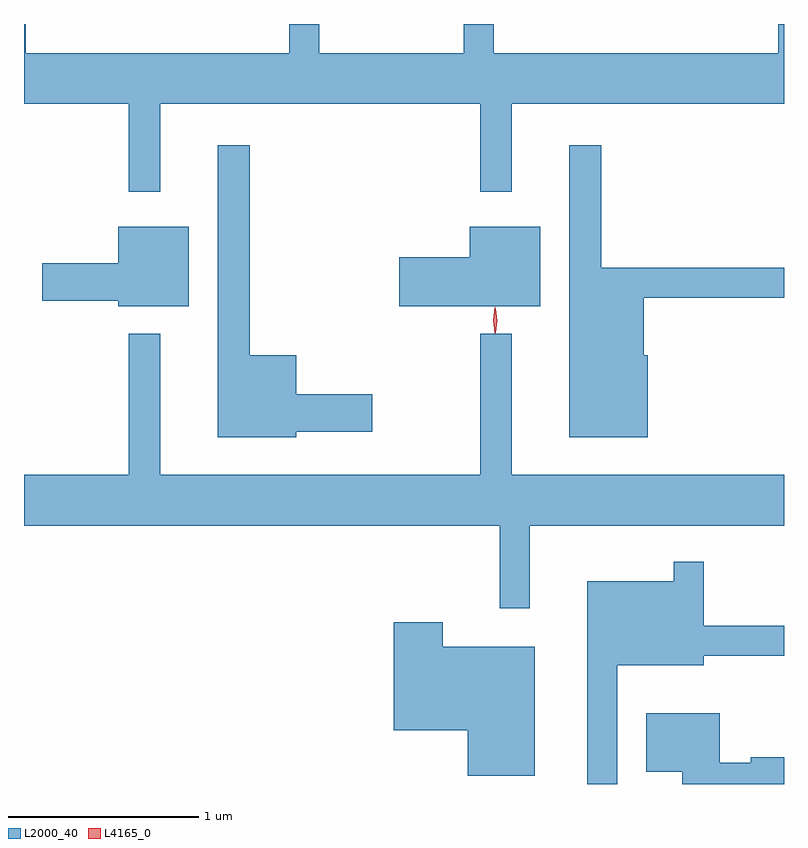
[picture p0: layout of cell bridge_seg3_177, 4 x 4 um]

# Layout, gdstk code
import gdstk
lib = gdstk.Library(unit=1e-6, precision=1e-09)
def P(c, l, *ps):  # polygons
    for p in ps: c.add(gdstk.Polygon(p, *l))
L2000_40 = (2000, 40)
L4165_0 = (4165, 0)

bridge_seg3_177 = lib.new_cell('bridge_seg3_177')
P(bridge_seg3_177, L2000_40, [(881.889,1126.016),(883.571,1126.016),(883.571,1125.553),(883.739,1125.553),(883.739,1126.016),(885.171,1126.016),(885.171,1126.437),(885.141,1126.437),(885.141,1126.284),(883.644,1126.284),(883.644,1126.437),(883.486,1126.437),(883.486,1126.284),(882.724,1126.284),(882.724,1126.437),(882.566,1126.437),(882.566,1126.284),(881.179,1126.284),(881.179,1126.437),(881.171,1126.437),(881.171,1126.016),(881.721,1126.016),(881.721,1125.553),(881.889,1125.553)],
  [(884.454,1124.694),(884.434,1124.694),(884.434,1124.996),(885.171,1124.996),(885.171,1125.154),(884.209,1125.154),(884.209,1125.798),(884.041,1125.798),(884.041,1124.261),(884.454,1124.261)],
  [(882.604,1124.291),(883.004,1124.291),(883.004,1124.489),(882.604,1124.489),(882.604,1124.694),(882.359,1124.694),(882.359,1125.798),(882.191,1125.798),(882.191,1124.261),(882.604,1124.261)],
  [(883.889,1125.369),(883.516,1125.369),(883.516,1125.209),(883.146,1125.209),(883.146,1124.951),(883.889,1124.951)],
  [(882.039,1125.369),(881.666,1125.369),(881.666,1125.179),(881.266,1125.179),(881.266,1124.981),(881.666,1124.981),(881.666,1124.951),(882.039,1124.951)],
  [(883.834,1123.796),(885.171,1123.796),(885.171,1124.064),(883.739,1124.064),(883.739,1124.808),(883.571,1124.808),(883.571,1124.064),(881.889,1124.064),(881.889,1124.808),(881.721,1124.808),(881.721,1124.064),(881.171,1124.064),(881.171,1123.796),(883.676,1123.796),(883.676,1123.363),(883.834,1123.363)],
  [(884.294,1123.061),(884.749,1123.061),(884.749,1123.111),(885.171,1123.111),(885.171,1123.269),(884.749,1123.269),(884.749,1123.608),(884.591,1123.608),(884.591,1123.504),(884.136,1123.504),(884.136,1122.437),(884.294,1122.437)],
  [(883.859,1123.159),(883.374,1123.159),(883.374,1123.289),(883.116,1123.289),(883.116,1122.721),(883.506,1122.721),(883.506,1122.481),(883.859,1122.481)],
  [(885.171,1122.579),(884.996,1122.579),(884.996,1122.549),(884.834,1122.549),(884.834,1122.809),(884.446,1122.809),(884.446,1122.501),(884.636,1122.501),(884.636,1122.437),(885.171,1122.437)])
P(bridge_seg3_177, L4165_0, [(883.649,1124.81),(883.64,1124.878),(883.649,1124.946),(883.649,1124.946),(883.65,1124.946),(883.659,1124.878),(883.65,1124.81),(883.65,1124.81)],
  [(883.652,1124.813),(883.652,1124.813),(883.642,1124.876),(883.652,1124.939),(883.652,1124.94),(883.653,1124.939),(883.662,1124.876),(883.653,1124.813)])

lib.write_gds('bridge_seg3_177.gds')
